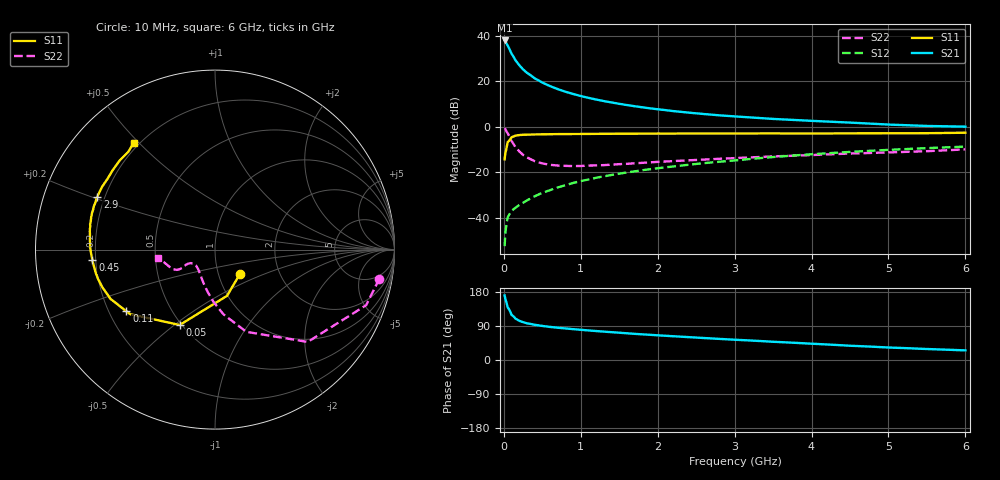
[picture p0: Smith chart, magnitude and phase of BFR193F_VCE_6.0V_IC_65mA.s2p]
! (c) 2017  Infineon Technologies AG, Munich
! Infineon Technologies  Discrete & RF Semiconductors
! BFR193F
! VCE =  6.0 V,  IC =  65 mA
! Common Emitter S-Parameters:  Jan 2017
# GHz  S  MA  R  50
!  f  S11  S21  S12  S22
! GHz  MAG  ANG  MAG  ANG  MAG  ANG  MAG  ANG
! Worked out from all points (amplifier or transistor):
!   77 points, 10 MHz to 6 GHz, reference 50 ohm
!   highest |S21| = 38.0 dB at 10 MHz (marker M1)
!   |S21| within 3 dB of that: start of sweep to 61.5 MHz
!   unconditionally stable (mu >= 1): 752.7 MHz to 2.46 GHz
!   at 130 MHz: K = 0.53, MSG = 33.3 dB, |S12| = -36.1 dB
!   at 2.2 GHz: K = 1.01, MAG = 11.5 dB, |S12| = -17.4 dB
!   at 6 GHz: K = 0.86, MSG = 4.4 dB, |S12| = -8.7 dB
!   S11 on the Smith chart (normalised r, x): 10 MHz: 1.26, -0.36; 50 MHz: 0.49, -0.52; 110 MHz: 0.27, -0.29; 450 MHz: 0.19, -0.04; 2.9 GHz: 0.17, +0.21; 6 GHz: 0.18, +0.48
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0.01  0.1947 -45.0  79.39 170.3  0.0024 88.1  0.9303 -10.0
0.02  0.2661 -75.4  76.46 160.7  0.0047 78.8  0.8972 -20.2
0.05  0.4638 -115.1  61.43 139.0  0.0103 63.0  0.729 -44.9
0.1  0.5939 -142.7  40.83 119.0  0.0142 53.8  0.4906 -69.1
0.11  0.6016 -145.2  38.48 117.5  0.0147 53.6  0.4633 -71.2
0.15  0.6434 -154.7  29.41 109.4  0.0167 52.9  0.3625 -82.7
0.2  0.6614 -161.4  22.71 103.6  0.0192 56.6  0.2916 -91.6
0.25  0.6722 -166.1  18.4 99.8  0.0215 59.1  0.2424 -99.2
0.3  0.6773 -169.1  15.49 96.9  0.0243 61.6  0.2142 -105.0
0.4  0.6832 -173.5  11.72 92.8  0.0298 65.3  0.177 -114.7
0.45  0.6852 -175.0  10.57 91.5  0.0327 66.9  0.1671 -118.1
0.6  0.6919 -178.8  7.895 87.3  0.0408 69.8  0.147 -128.0
0.7  0.6955 179.0  6.784 85.2  0.0468 71.9  0.1421 -132.7
0.9  0.6992 175.7  5.299 81.4  0.0587 73.6  0.138 -140.2
1.1  0.7019 173.0  4.352 78.0  0.0701 74.3  0.1415 -144.6
1.5  0.7102 168.5  3.222 72.0  0.0939 74.6  0.1521 -149.9
2.1  0.7147 162.6  2.339 64.0  0.1294 74.3  0.1741 -152.4
2.9  0.7182 155.9  1.751 54.6  0.1777 72.6  0.203 -151.5
3.1  0.7188 154.3  1.661 52.5  0.1906 72.1  0.2103 -150.9
4.1  0.7176 145.7  1.337 42.0  0.2572 67.8  0.2446 -152.7
5.1  0.7269 135.8  1.111 32.2  0.3192 62.1  0.2788 -162.0
6  0.7464 127.4  1.015 25.4  0.3693 56.7  0.321 -171.8
